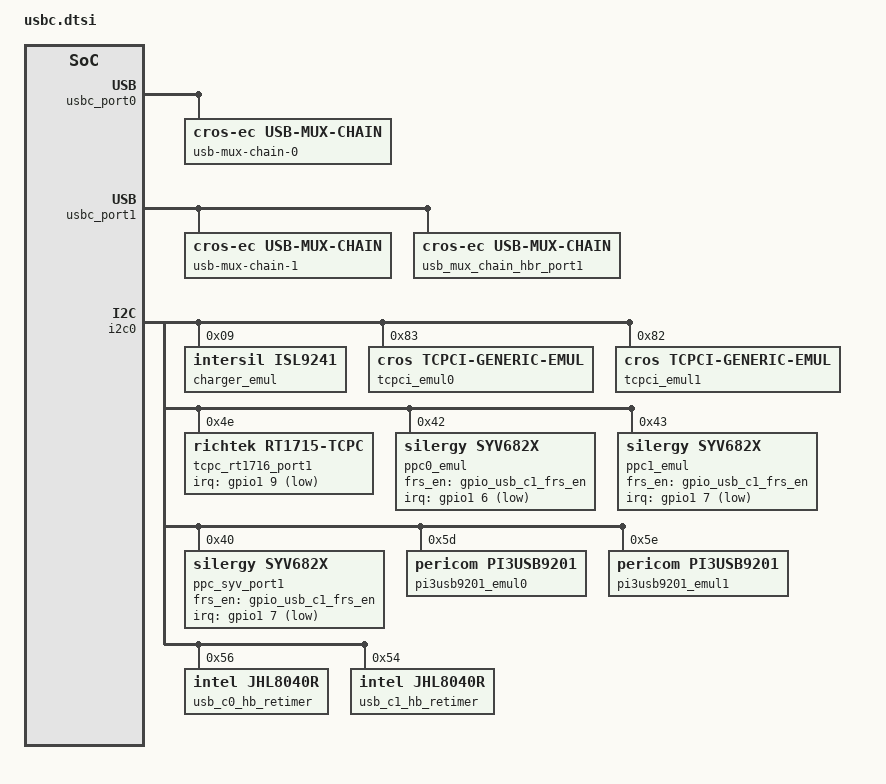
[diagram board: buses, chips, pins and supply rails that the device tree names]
/* Copyright 2024 The ChromiumOS Authors
 * Use of this source code is governed by a BSD-style license that can be
 * found in the LICENSE file.
 */

#include "../native_sim.overlay"

#include <cros/binman.dtsi>
#include <dt-bindings/gpio_defines.h>
#include <dt-bindings/usb_pd_tcpm.h>

/ {
	chosen {
		cros-ec,espi = &espi0;
	};

	/* Unused Stub */
	named-i2c-ports {
		compatible = "named-i2c-ports";

		named_i2c0: i2c0 {
			i2c-port = <&i2c0>;
			enum-names = "I2C_PORT_USB_MUX";
		};
	};

	usbc {
		#address-cells = <1>;
		#size-cells = <0>;

		usbc_port0: port0@0 {
			compatible = "named-usbc-port";
			reg = <0>;

			bc12 = <&pi3usb9201_emul0>;
			tcpc = <&tcpci_emul0>;
			ppc = <&ppc0_emul>;
			chg = <&charger_emul>;
			usb-mux-chain-0 {
				compatible = "cros-ec,usb-mux-chain";
				usb-muxes = <&usb_c0_hb_retimer
					     &virtual_mux_c0>;
			};
		};
		port0-muxes {
			virtual_mux_c0: virtual-mux-c0 {
				compatible = "cros-ec,usbc-mux-virtual";
			};
		};
		usbc_port1: port1@1 {
			compatible = "named-usbc-port";
			reg = <1>;

			bc12 = <&pi3usb9201_emul1>;
			tcpc = <&tcpci_emul1>;
			ppc = <&ppc1_emul>;
			usb-mux-chain-1 {
				compatible = "cros-ec,usb-mux-chain";
				usb-muxes = <&virtual_mux_c1>;
			};
			usb_mux_chain_hbr_port1: usb-mux-chain-1-hbr {
				compatible = "cros-ec,usb-mux-chain";
				usb-muxes = <&usb_c1_hb_retimer
					     &virtual_mux_c1>;
				alternative-chain;
			};
		};
		port1-muxes {
			virtual_mux_c1: virtual-mux-c1 {
				compatible = "cros-ec,usbc-mux-virtual";
			};
		};
	};

	named-gpios {
		compatible = "named-gpios";

		gpio_usb_c0_ppc_int_odl: usb_c0_ppc_int_odl {
			gpios = <&gpio1 6 (GPIO_INPUT | GPIO_ACTIVE_LOW)>;
			enum-name = "GPIO_USB_C0_PPC_INT_ODL";
		};
		gpio_usb_c1_ppc_int_odl: usb_c1_ppc_int_odl {
			gpios = <&gpio1 7 (GPIO_INPUT | GPIO_ACTIVE_LOW)>;
			enum-name = "GPIO_USB_C1_PPC_INT_ODL";
		};
		gpio_usb_c0_tcpc_int_odl: usb_c0_tcpc_int_odl {
			gpios = <&gpio1 8 (GPIO_INPUT | GPIO_ACTIVE_LOW)>;
			enum-name = "GPIO_USB_C0_TCPC_INT_ODL";
		};
		gpio_usb_c1_tcpc_int_odl: usb_c1_tcpc_int_odl {
			gpios = <&gpio1 9 (GPIO_INPUT | GPIO_ACTIVE_LOW)>;
			enum-name = "GPIO_USB_C1_TCPC_INT_ODL";
		};
		gpio_usb_c0_rt_3p3_sx_en: usb_c0_rt_3p3_sx_en {
			gpios = <&gpio1 10 GPIO_ODR_LOW>;
		};
		gpio_usb_c0_rt_int_odl: usb_c0_rt_int_odl {
			gpios = <&gpio1 11 GPIO_INPUT>;
		};
		gpio_usb_c0_rt_rst_odl: usb_c0_rt_rst_odl {
			gpios = <&gpio1 12 GPIO_OUTPUT>;
		};
	};

	aliases {
		hbr-usb-c1-rt-pwr-en = &gpio_usb_c1_rst_odl;

		hbr-usb-c1-rt-int-odl = &gpio_usb_c1_rt_int_odl;

		hbr-usb-c1-rt-rst-odl = &gpio_usb_c1_rt_rst_r_odl;

		syv-usb-c1-frs-en = &gpio_usb_c1_frs_en;
	};
};

&i2c0 {
	status = "okay";

	charger_emul: isl9241@9 {
		compatible = "intersil,isl9241";
		status = "okay";
		reg = <0x9>;
	};
	tcpci_emul0: tcpci_emul@83 {
		compatible = "cros,tcpci-generic-emul";
		status = "okay";
		reg = <0x83>;
	};
	tcpci_emul1: tcpci_emul@82 {
		compatible = "cros,tcpci-generic-emul";
		status = "okay";
		reg = <0x82>;
	};
	tcpc_rt1716_port1: rt1716@4e {
		compatible = "richtek,rt1715-tcpc", "cros,i2c-mock";
		reg = <0x4e>;
		tcpc-flags = <(TCPC_FLAGS_TCPCI_REV2_0 |
			TCPC_FLAGS_TCPCI_REV2_0_NO_VSAFE0V)>;
		irq-gpios = <&gpio1 9 GPIO_ACTIVE_LOW>;
		is-alt;
	};
	ppc0_emul: syv682x@42 {
		compatible = "silergy,syv682x", "cros,i2c-mock";
		status = "okay";
		reg = <0x42>;
		frs_en_gpio = <&gpio_usb_c1_frs_en>;
		irq-gpios = <&gpio1 6 GPIO_ACTIVE_LOW>;
	};
	ppc1_emul: syv682x@43 {
		compatible = "silergy,syv682x", "cros,i2c-mock";
		status = "okay";
		reg = <0x43>;
		frs_en_gpio = <&gpio_usb_c1_frs_en>;
		irq-gpios = <&gpio1 7 GPIO_ACTIVE_LOW>;
	};
	ppc_syv_port1: syv682x@40 {
		compatible = "silergy,syv682x", "cros,i2c-mock";
		status = "okay";
		reg = <0x40>;
		frs_en_gpio = <&gpio_usb_c1_frs_en>;
		irq-gpios = <&gpio1 7 GPIO_ACTIVE_LOW>;
		is-alt;
	};
	pi3usb9201_emul0: pi3usb9201@5d {
		compatible = "pericom,pi3usb9201";
		status = "okay";
		reg = <0x5d>;
	};

	pi3usb9201_emul1: pi3usb9201@5e {
		compatible = "pericom,pi3usb9201";
		status = "okay";
		reg = <0x5e>;
	};
	usb_c0_hb_retimer: jhl9040r-c1@56 {
		compatible = "intel,jhl8040r";
		reg = <0x56>;
		ls-en-pin = <&gpio_usb_c0_rt_3p3_sx_en>;
		int-pin = <&gpio_usb_c0_rt_int_odl>;
		reset-pin = <&gpio_usb_c0_rt_rst_odl>;
	};
	usb_c1_hb_retimer: jhl9040r-c1@54 {
		compatible = "intel,jhl8040r";
		reg = <0x54>;
		ls-en-pin = <&gpio_usb_c1_rst_odl>;
		int-pin = <&gpio_usb_c1_rt_int_odl>;
		reset-pin = <&gpio_usb_c1_rt_rst_r_odl>;
	};
};
